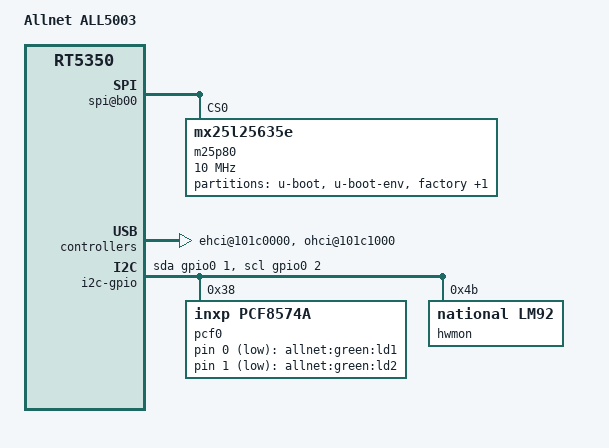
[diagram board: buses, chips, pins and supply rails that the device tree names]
/dts-v1/;

/include/ "rt5350.dtsi"

/ {
	compatible = "ALL5003", "ralink,rt5350-soc";
	model = "Allnet ALL5003";

	palmbus@10000000 {
		gpio0: gpio@600 {
			status = "okay";
		};

		spi@b00 {
			status = "okay";
			m25p80@0 {
				#address-cells = <1>;
				#size-cells = <1>;
				compatible = "mx25l25635e";
				reg = <0 0>;
				linux,modalias = "m25p80", "mx25l25635e";
				spi-max-frequency = <10000000>;

				partition@0 {
					label = "u-boot";
					reg = <0x0 0x30000>;
					read-only;
				};

				partition@30000 {
					label = "u-boot-env";
					reg = <0x30000 0x10000>;
					read-only;
				};

				factory: partition@40000 {
					label = "factory";
					reg = <0x40000 0x10000>;
					read-only;
				};

				partition@50000 {
					label = "firmware";
					reg = <0x50000 0x1fb0000>;
				};
			};
		};
	};

	pinctrl {
		state_default: pinctrl0 {
			gpio {
				ralink,group = "i2c", "jtag", "rgmii", "mdio", "uartf";
				ralink,function = "gpio";
			};
		};
	};

	ethernet@10100000 {
		mtd-mac-address = <&factory 0x28>;
	};

	esw@10110000 {
		ralink,portmap = <0x3f>;
	};

	wmac@10180000 {
		ralink,mtd-eeprom = <&factory 0>;
	};

	ehci@101c0000 {
		status = "okay";
	};

	ohci@101c1000 {
		status = "okay";
	};

	i2c-gpio {
		compatible = "i2c-gpio";

		gpios = <&gpio0 1 0 &gpio0 2 0>;
		i2c-gpio,delay-us = <10>;

		pcf0: iexp@38 {
			#gpio-cells = <2>;
			compatible = "inxp,pcf8574a";
			reg = <0x38>;
			gpio-controller;
		};

		hwmon@4b {
			compatible = "national,lm92";
			reg = <0x4b>;
		};
	};

	gpio-leds {
		compatible = "gpio-leds";
		ld1 {
			label = "allnet:green:ld1";
			gpios = <&pcf0 0 1>;
		};
		ld2 {
			label = "allnet:green:ld2";
			gpios = <&pcf0 1 1>;
		};
	};
};
